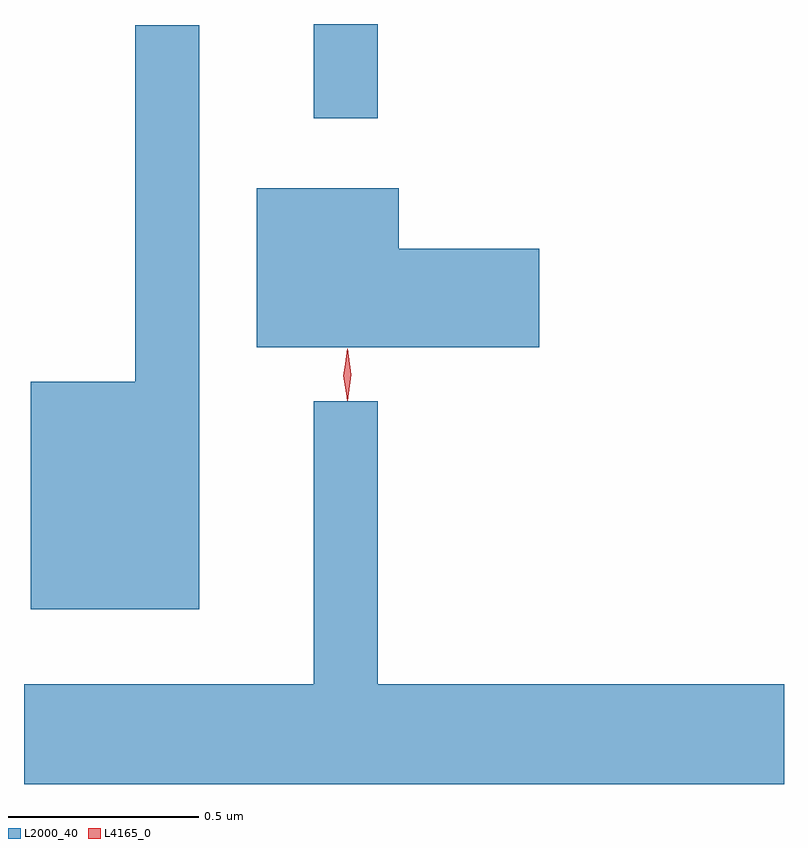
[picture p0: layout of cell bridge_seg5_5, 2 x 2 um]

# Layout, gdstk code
import gdstk
lib = gdstk.Library(unit=1e-6, precision=1e-09)
def R(c, l, rs):  # rectangles x0, y0, x1, y1
    for r in rs: c.add(gdstk.rectangle(r[:2], r[2:], *l))
def P(c, l, *ps):  # polygons
    for p in ps: c.add(gdstk.Polygon(p, *l))
L2000_40 = (2000, 40)
L4165_0 = (4165, 0)

bridge_seg5_5 = lib.new_cell('bridge_seg5_5')
R(bridge_seg5_5, L2000_40, [(1692.681,1445.233,1692.849,1445.481)])
P(bridge_seg5_5, L2000_40, [(1692.379,1445.478),(1692.211,1445.478),(1692.211,1444.539),(1691.936,1444.539),(1691.936,1443.941),(1692.379,1443.941)],
  [(1693.274,1444.889),(1692.904,1444.889),(1692.904,1445.049),(1692.531,1445.049),(1692.531,1444.631),(1693.274,1444.631)],
  [(1693.918,1443.744),(1692.849,1443.744),(1692.849,1444.488),(1692.681,1444.488),(1692.681,1443.744),(1691.918,1443.744),(1691.918,1443.481),(1693.918,1443.481)])
P(bridge_seg5_5, L4165_0, [(1692.769,1444.49),(1692.769,1444.49),(1692.759,1444.558),(1692.769,1444.626),(1692.769,1444.626),(1692.77,1444.626),(1692.779,1444.558),(1692.77,1444.49)],
  [(1692.768,1444.493),(1692.768,1444.493),(1692.758,1444.556),(1692.768,1444.619),(1692.768,1444.62),(1692.769,1444.619),(1692.778,1444.556),(1692.769,1444.493)])

lib.write_gds('bridge_seg5_5.gds')
